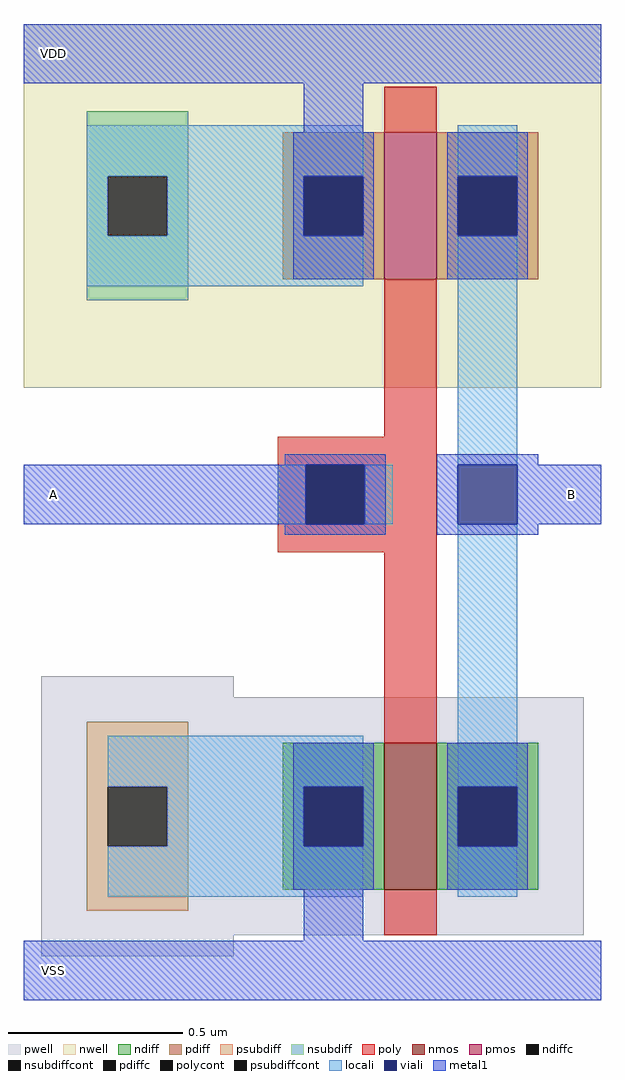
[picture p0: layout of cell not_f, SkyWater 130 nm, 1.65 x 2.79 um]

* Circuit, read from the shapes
.subckt not_f B VDD A VSS
XM1 B A VSS VSS sky130_fd_pr__nfet_01v8 w=0.42 l=0.15
XM2 B A VDD VDD sky130_fd_pr__pfet_01v8 w=0.42 l=0.15
.ends

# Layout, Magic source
magic
tech sky130A
magscale 1 2
<< nwell >>
rect 0 488 330 696
<< pwell >>
rect 10 311 120 323
rect 10 175 320 311
rect 10 163 120 175
<< nmos >>
rect 206 201 236 285
<< pmos >>
rect 206 550 236 634
<< ndiff >>
rect 148 260 206 285
rect 148 226 160 260
rect 194 226 206 260
rect 148 201 206 226
rect 236 260 294 285
rect 236 226 248 260
rect 282 226 294 260
rect 236 201 294 226
<< pdiff >>
rect 148 609 206 634
rect 148 575 160 609
rect 194 575 206 609
rect 148 550 206 575
rect 236 609 294 634
rect 236 575 248 609
rect 282 575 294 609
rect 236 550 294 575
<< ndiffc >>
rect 160 226 194 260
rect 248 226 282 260
<< pdiffc >>
rect 160 575 194 609
rect 248 575 282 609
<< psubdiff >>
rect 36 260 94 297
rect 36 226 48 260
rect 82 226 94 260
rect 36 189 94 226
<< nsubdiff >>
rect 36 609 94 646
rect 36 575 48 609
rect 82 575 94 609
rect 36 538 94 575
<< psubdiffcont >>
rect 48 226 82 260
<< nsubdiffcont >>
rect 48 575 82 609
<< poly >>
rect 206 634 236 660
rect 206 460 236 550
rect 145 444 236 460
rect 145 410 161 444
rect 195 410 236 444
rect 145 394 236 410
rect 206 285 236 394
rect 206 175 236 201
<< polycont >>
rect 161 410 195 444
<< locali >>
rect 36 609 194 638
rect 36 575 48 609
rect 82 575 160 609
rect 36 546 194 575
rect 248 609 282 638
rect 248 444 282 575
rect 145 410 161 444
rect 195 410 211 444
rect 48 260 194 289
rect 82 226 160 260
rect 48 197 194 226
rect 248 260 282 410
rect 248 197 282 226
<< viali >>
rect 160 575 194 609
rect 248 575 282 609
rect 161 410 195 444
rect 248 410 282 444
rect 160 226 194 260
rect 248 226 282 260
<< metal1 >>
rect 0 662 330 696
rect 160 634 194 662
rect 154 609 200 634
rect 154 575 160 609
rect 194 575 200 609
rect 154 550 200 575
rect 242 609 288 634
rect 242 575 248 609
rect 282 575 288 609
rect 242 550 288 575
rect 149 444 207 450
rect 0 410 161 444
rect 195 410 207 444
rect 149 404 207 410
rect 236 444 294 450
rect 236 410 248 444
rect 282 410 330 444
rect 236 404 294 410
rect 154 260 200 285
rect 154 226 160 260
rect 194 226 200 260
rect 154 201 200 226
rect 242 260 288 285
rect 242 226 248 260
rect 282 226 288 260
rect 242 201 288 226
rect 160 172 194 201
rect 0 138 330 172
<< labels >>
flabel metal1 s 296 410 330 444 0 FreeSans 44 0 0 0 B
port 1 nsew
flabel metal1 s 0 662 34 696 0 FreeSans 44 0 0 0 VDD
port 2 nsew
flabel metal1 s 0 410 34 444 0 FreeSans 44 0 0 0 A
port 3 nsew
flabel metal1 s 0 138 34 172 0 FreeSans 44 0 0 0 VSS
port 4 nsew
<< end >>
